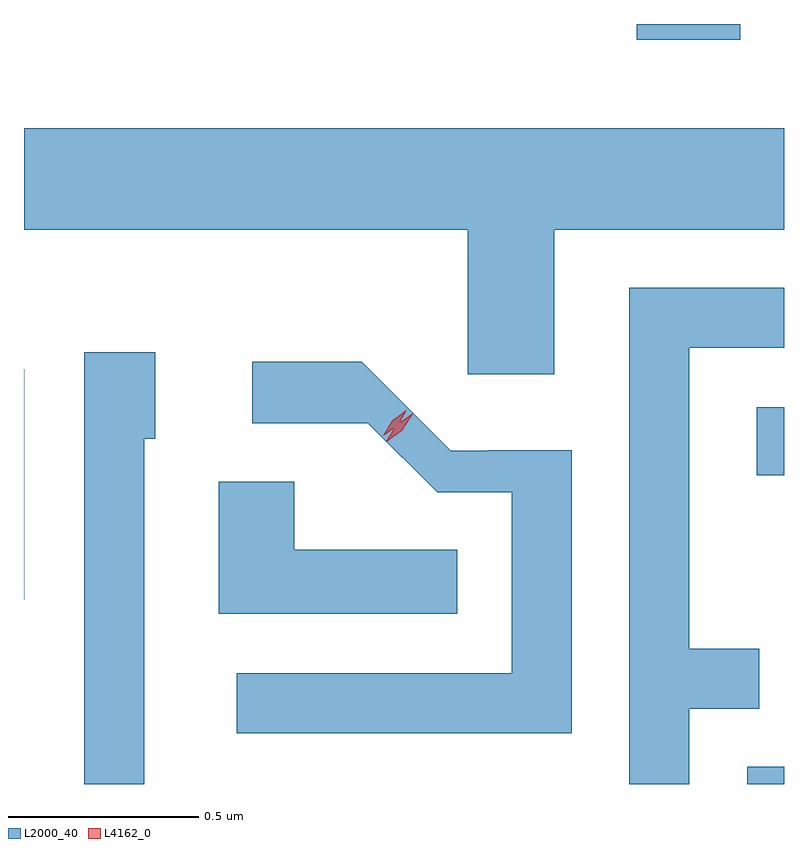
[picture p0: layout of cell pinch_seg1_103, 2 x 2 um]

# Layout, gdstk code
import gdstk
lib = gdstk.Library(unit=1e-6, precision=1e-09)
def R(c, l, rs):  # rectangles x0, y0, x1, y1
    for r in rs: c.add(gdstk.rectangle(r[:2], r[2:], *l))
def P(c, l, *ps):  # polygons
    for p in ps: c.add(gdstk.Polygon(p, *l))
L2000_40 = (2000, 40)
L4162_0 = (4162, 0)

pinch_seg1_103 = lib.new_cell('pinch_seg1_103')
R(pinch_seg1_103, L2000_40, [(211.506,867.038,211.603,867.084), (209.603,867.523,209.604,868.129), (211.531,867.851,211.603,868.029), (211.216,868.996,211.488,869.038)])
P(pinch_seg1_103, L2000_40, [(210.999,868.496),(211.603,868.496),(211.603,868.764),(209.603,868.764),(209.603,868.496),(210.771,868.496),(210.771,868.116),(210.999,868.116)],
  [(211.354,867.236),(211.538,867.236),(211.538,867.394),(211.354,867.394),(211.354,868.186),(211.603,868.186),(211.603,868.344),(211.196,868.344),(211.196,867.038),(211.354,867.038)],
  [(209.919,867.946),(209.949,867.946),(209.949,868.174),(209.761,868.174),(209.761,867.038),(209.919,867.038)],
  [(211.044,867.916),(210.823,867.916),(210.823,867.915),(210.726,867.915),(210.492,868.149),(210.203,868.149),(210.203,867.988),(210.508,867.988),(210.69,867.806),(210.886,867.806),(210.886,867.329),(210.163,867.329),(210.163,867.171),(211.044,867.171)],
  [(210.743,867.654),(210.314,867.654),(210.314,867.834),(210.116,867.834),(210.116,867.486),(210.743,867.486)])
P(pinch_seg1_103, L4162_0, [(210.556,867.939),(210.556,867.94),(210.584,867.983),(210.625,868.013),(210.626,868.013),(210.626,868.013),(210.598,867.969),(210.557,867.939)],
  [(210.548,867.954),(210.548,867.954),(210.572,867.994),(210.609,868.021),(210.609,868.021),(210.609,868.02),(210.586,867.981),(210.549,867.954)])

lib.write_gds('pinch_seg1_103.gds')
